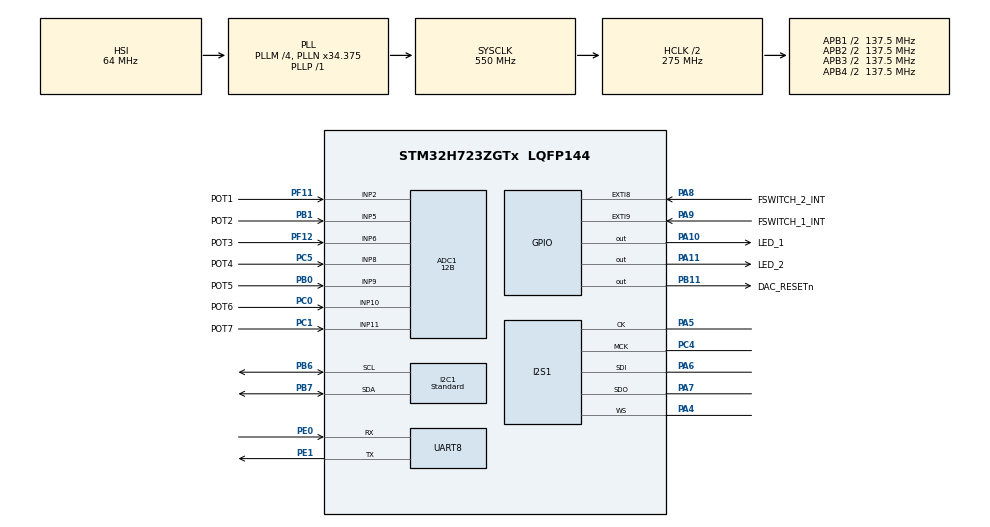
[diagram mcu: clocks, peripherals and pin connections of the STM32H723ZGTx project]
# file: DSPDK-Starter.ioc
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ADC1.Channel-10\#ChannelRegularConversion=ADC_CHANNEL_8
ADC1.Channel-11\#ChannelRegularConversion=ADC_CHANNEL_9
ADC1.Channel-12\#ChannelRegularConversion=ADC_CHANNEL_10
ADC1.Channel-13\#ChannelRegularConversion=ADC_CHANNEL_11
ADC1.Channel-7\#ChannelRegularConversion=ADC_CHANNEL_2
ADC1.Channel-8\#ChannelRegularConversion=ADC_CHANNEL_5
ADC1.Channel-9\#ChannelRegularConversion=ADC_CHANNEL_6
ADC1.ContinuousConvMode=DISABLE
ADC1.ConversionDataManagement=ADC_CONVERSIONDATA_DMA_CIRCULAR
ADC1.EOCSelection=ADC_EOC_SEQ_CONV
ADC1.ExternalTrigConv=ADC_EXTERNALTRIG_T3_TRGO
ADC1.NbrOfConversion=7
ADC1.NbrOfConversionFlag=1
ADC1.OffsetNumber-10\#ChannelRegularConversion=ADC_OFFSET_NONE
ADC1.OffsetNumber-11\#ChannelRegularConversion=ADC_OFFSET_NONE
ADC1.OffsetNumber-12\#ChannelRegularConversion=ADC_OFFSET_NONE
ADC1.OffsetNumber-13\#ChannelRegularConversion=ADC_OFFSET_NONE
ADC1.OffsetNumber-7\#ChannelRegularConversion=ADC_OFFSET_NONE
ADC1.OffsetNumber-8\#ChannelRegularConversion=ADC_OFFSET_NONE
ADC1.OffsetNumber-9\#ChannelRegularConversion=ADC_OFFSET_NONE
ADC1.OffsetSignedSaturation-7\#ChannelRegularConversion=DISABLE
ADC1.Rank-10\#ChannelRegularConversion=4
ADC1.Rank-11\#ChannelRegularConversion=5
ADC1.Rank-12\#ChannelRegularConversion=6
ADC1.Rank-13\#ChannelRegularConversion=7
ADC1.Rank-7\#ChannelRegularConversion=1
ADC1.Rank-8\#ChannelRegularConversion=2
ADC1.Rank-9\#ChannelRegularConversion=3
ADC1.Resolution=ADC_RESOLUTION_12B
ADC1.SamplingTime-10\#ChannelRegularConversion=ADC_SAMPLETIME_64CYCLES_5
ADC1.SamplingTime-11\#ChannelRegularConversion=ADC_SAMPLETIME_64CYCLES_5
ADC1.SamplingTime-12\#ChannelRegularConversion=ADC_SAMPLETIME_64CYCLES_5
ADC1.SamplingTime-13\#ChannelRegularConversion=ADC_SAMPLETIME_64CYCLES_5
ADC1.SamplingTime-7\#ChannelRegularConversion=ADC_SAMPLETIME_64CYCLES_5
ADC1.SamplingTime-8\#ChannelRegularConversion=ADC_SAMPLETIME_64CYCLES_5
ADC1.SamplingTime-9\#ChannelRegularConversion=ADC_SAMPLETIME_64CYCLES_5
ADC1.master=1
Dma.ADC1.2.Direction=DMA_PERIPH_TO_MEMORY
Dma.ADC1.2.EventEnable=DISABLE
Dma.ADC1.2.FIFOMode=DMA_FIFOMODE_DISABLE
Dma.ADC1.2.Instance=DMA1_Stream2
Dma.ADC1.2.MemDataAlignment=DMA_MDATAALIGN_HALFWORD
Dma.ADC1.2.MemInc=DMA_MINC_ENABLE
Dma.ADC1.2.Mode=DMA_CIRCULAR
Dma.ADC1.2.PeriphDataAlignment=DMA_PDATAALIGN_HALFWORD
Dma.ADC1.2.PeriphInc=DMA_PINC_DISABLE
Dma.ADC1.2.Polarity=HAL_DMAMUX_REQ_GEN_RISING
Dma.ADC1.2.Priority=DMA_PRIORITY_LOW
Dma.ADC1.2.RequestNumber=1
Dma.ADC1.2.SignalID=NONE
Dma.ADC1.2.SyncEnable=DISABLE
Dma.ADC1.2.SyncPolarity=HAL_DMAMUX_SYNC_NO_EVENT
Dma.ADC1.2.SyncRequestNumber=1
Dma.ADC1.2.SyncSignalID=NONE
Dma.Request0=SPI1_RX
Dma.Request1=SPI1_TX
Dma.Request2=ADC1
Dma.SPI1_RX.0.Direction=DMA_PERIPH_TO_MEMORY
Dma.SPI1_RX.0.EventEnable=DISABLE
Dma.SPI1_RX.0.FIFOMode=DMA_FIFOMODE_DISABLE
Dma.SPI1_RX.0.Instance=DMA1_Stream0
Dma.SPI1_RX.0.MemDataAlignment=DMA_MDATAALIGN_WORD
Dma.SPI1_RX.0.MemInc=DMA_MINC_ENABLE
Dma.SPI1_RX.0.Mode=DMA_CIRCULAR
Dma.SPI1_RX.0.PeriphDataAlignment=DMA_PDATAALIGN_WORD
Dma.SPI1_RX.0.PeriphInc=DMA_PINC_DISABLE
Dma.SPI1_RX.0.Polarity=HAL_DMAMUX_REQ_GEN_RISING
Dma.SPI1_RX.0.Priority=DMA_PRIORITY_VERY_HIGH
Dma.SPI1_RX.0.RequestNumber=1
Dma.SPI1_RX.0.SignalID=NONE
Dma.SPI1_RX.0.SyncEnable=DISABLE
Dma.SPI1_RX.0.SyncPolarity=HAL_DMAMUX_SYNC_NO_EVENT
Dma.SPI1_RX.0.SyncRequestNumber=1
Dma.SPI1_RX.0.SyncSignalID=NONE
Dma.SPI1_TX.1.Direction=DMA_MEMORY_TO_PERIPH
Dma.SPI1_TX.1.EventEnable=DISABLE
Dma.SPI1_TX.1.FIFOMode=DMA_FIFOMODE_DISABLE
Dma.SPI1_TX.1.Instance=DMA1_Stream1
Dma.SPI1_TX.1.MemDataAlignment=DMA_MDATAALIGN_WORD
Dma.SPI1_TX.1.MemInc=DMA_MINC_ENABLE
Dma.SPI1_TX.1.Mode=DMA_CIRCULAR
Dma.SPI1_TX.1.PeriphDataAlignment=DMA_PDATAALIGN_WORD
Dma.SPI1_TX.1.PeriphInc=DMA_PINC_DISABLE
Dma.SPI1_TX.1.Polarity=HAL_DMAMUX_REQ_GEN_RISING
Dma.SPI1_TX.1.Priority=DMA_PRIORITY_VERY_HIGH
Dma.SPI1_TX.1.RequestNumber=1
Dma.SPI1_TX.1.SignalID=NONE
Dma.SPI1_TX.1.SyncEnable=DISABLE
Dma.SPI1_TX.1.SyncPolarity=HAL_DMAMUX_SYNC_NO_EVENT
Dma.SPI1_TX.1.SyncRequestNumber=1
Dma.SPI1_TX.1.SyncSignalID=NONE
I2C1.Analog_Filter=I2C_ANALOGFILTER_ENABLE
I2C1.GeneralCallMode=I2C_GENERALCALL_ENABLE
I2C1.I2C_Coeff_DF=0
I2C1.I2C_Fall_Time=50
I2C1.I2C_Rise_Time=50
I2C1.I2C_Speed_Mode=I2C_Standard
I2C1.Timing=0x20D0BFFF
I2S1.AudioFreq=I2S_AUDIOFREQ_48K
I2S1.Data24BitAlignment=I2S_DATA_24BIT_ALIGNMENT_LEFT
I2S1.DataFormat=I2S_DATAFORMAT_24B
I2S1.ErrorAudioFreq=-0.53 %
I2S1.Instance=SPI$Index
I2S1.RealAudioFreq=47.743 KHz
I2S1.Standard=I2S_STANDARD_MSB
Mcu.Family=STM32H7
Mcu.Name=STM32H723ZGTx
Mcu.Package=LQFP144
NVIC.DMA1_Stream0_IRQn=true\:0\:0\:false\:false\:true\:false\:true\:true
NVIC.DMA1_Stream1_IRQn=true\:0\:0\:false\:false\:true\:false\:true\:true
NVIC.DMA1_Stream2_IRQn=true\:0\:0\:false\:false\:true\:false\:true\:true
NVIC.EXTI9_5_IRQn=true\:0\:0\:false\:false\:true\:true\:true\:true
NVIC.PriorityGroup=NVIC_PRIORITYGROUP_4
PA10.GPIO_Label=LED_1
PA10.PinState=GPIO_PIN_SET
PA10.Signal=GPIO_Output
PA11.GPIO_Label=LED_2
PA11.PinState=GPIO_PIN_SET
PA11.Signal=GPIO_Output
PA13(JTMS/SWDIO).Mode=Trace_Asynchronous_SW
PA13(JTMS/SWDIO).Signal=DEBUG_JTMS-SWDIO
PA14(JTCK/SWCLK).Mode=Trace_Asynchronous_SW
PA14(JTCK/SWCLK).Signal=DEBUG_JTCK-SWCLK
PA4.GPIO_Speed=GPIO_SPEED_FREQ_VERY_HIGH
PA4.Mode=Full_Duplex_Master
PA4.Signal=I2S1_WS
PA5.GPIO_Speed=GPIO_SPEED_FREQ_VERY_HIGH
PA5.Mode=Full_Duplex_Master
PA5.Signal=I2S1_CK
PA6.GPIO_Speed=GPIO_SPEED_FREQ_VERY_HIGH
PA6.Mode=Full_Duplex_Master
PA6.Signal=I2S1_SDI
PA7.GPIO_Speed=GPIO_SPEED_FREQ_VERY_HIGH
PA7.Mode=Full_Duplex_Master
PA7.Signal=I2S1_SDO
PA8.GPIO_Label=FSWITCH_2_INT
PA8.GPIO_ModeDefaultEXTI=GPIO_MODE_IT_FALLING
PA8.Signal=GPXTI8
PA9.GPIO_Label=FSWITCH_1_INT
PA9.GPIO_ModeDefaultEXTI=GPIO_MODE_IT_FALLING
PA9.Signal=GPXTI9
PB0.GPIO_Label=POT5
PB0.Signal=ADCx_INP9
PB1.GPIO_Label=POT2
PB1.Signal=ADCx_INP5
PB11.GPIO_Label=DAC_RESETn
PB11.GPIO_ModeDefaultOutputPP=GPIO_MODE_OUTPUT_PP
PB11.GPIO_PuPd=GPIO_PULLUP
PB11.GPIO_Speed=GPIO_SPEED_FREQ_VERY_HIGH
PB11.PinState=GPIO_PIN_SET
PB11.Signal=GPIO_Output
PB3(JTDO/TRACESWO).Mode=Trace_Asynchronous_SW
PB3(JTDO/TRACESWO).Signal=DEBUG_JTDO-SWO
PB6.GPIO_Pu=GPIO_PULLUP
PB6.GPIO_Speed=GPIO_SPEED_FREQ_VERY_HIGH
PB6.Mode=I2C
PB6.Signal=I2C1_SCL
PB7.GPIO_Pu=GPIO_PULLUP
PB7.GPIO_Speed=GPIO_SPEED_FREQ_VERY_HIGH
PB7.Mode=I2C
PB7.Signal=I2C1_SDA
PC0.GPIO_Label=POT6
PC0.Signal=ADCx_INP10
PC1.GPIO_Label=POT7
PC1.Signal=ADCx_INP11
PC4.GPIO_Speed=GPIO_SPEED_FREQ_VERY_HIGH
PC4.Mode=Master_Clock_Activated
PC4.Signal=I2S1_MCK
PC5.GPIO_Label=POT4
PC5.Signal=ADCx_INP8
PE0.Mode=Asynchronous
PE0.Signal=UART8_RX
PE1.Mode=Asynchronous
PE1.Signal=UART8_TX
PF11.GPIO_Label=POT1
PF11.Mode=IN2-Single-Ended
PF11.Signal=ADC1_INP2
PF12.GPIO_Label=POT3
PF12.Mode=IN6-Single-Ended
PF12.Signal=ADC1_INP6
ProjectManager.HeapSize=0x200
ProjectManager.StackSize=0x400
ProjectManager.TargetToolchain=STM32CubeIDE
RCC.ADCFreq_Value=96000000
RCC.APB1Freq_Value=137500000
RCC.APB2Freq_Value=137500000
RCC.APB3Freq_Value=137500000
RCC.APB4Freq_Value=137500000
RCC.CortexFreq_Value=550000000
RCC.D1PPRE=RCC_APB3_DIV2
RCC.D2PPRE1=RCC_APB1_DIV2
RCC.D2PPRE2=RCC_APB2_DIV2
RCC.D3PPRE=RCC_APB4_DIV2
RCC.DIVM1=4
RCC.DIVM2=4
RCC.DIVN1=34
RCC.DIVN2=12
RCC.DIVP1=1
RCC.DIVQ1=9
RCC.HCLKFreq_Value=275000000
RCC.HPRE=RCC_HCLK_DIV2
RCC.PLL2FRACN=0
RCC.PLL3FRACN=0
RCC.PLLFRACN=3072
RCC.SYSCLKFreq_VALUE=550000000
RCC.SYSCLKSource=RCC_SYSCLKSOURCE_PLLCLK
RCC.USBFreq_Value=61111111.11111111
SH.ADCx_INP10.0=ADC1_INP10,IN10-Single-Ended
SH.ADCx_INP11.0=ADC1_INP11,IN11-Single-Ended
SH.ADCx_INP5.0=ADC1_INP5,IN5-Single-Ended
SH.ADCx_INP8.0=ADC1_INP8,IN8-Single-Ended
SH.ADCx_INP9.0=ADC1_INP9,IN9-Single-Ended
TIM3.Channel-PWM\ Generation1\ No\ Output=TIM_CHANNEL_1
TIM3.Period=500-1
TIM3.Prescaler=33600-1
TIM3.TIM_MasterOutputTrigger=TIM_TRGO_UPDATE
VP_TIM3_VS_ClockSourceINT.Mode=Internal
VP_TIM3_VS_no_output1.Mode=PWM Generation1 No Output
board=custom

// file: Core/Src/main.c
/* USER CODE BEGIN Header */
/**
  ******************************************************************************
  * @file           : main.c
  * @brief          : Main program body
  ******************************************************************************
  * @attention
  *
  * Copyright (c) 2023 STMicroelectronics.
  * All rights reserved.
  *
  * This software is licensed under terms that can be found in the LICENSE file
  * in the root directory of this software component.
  * If no LICENSE file comes with this software, it is provided AS-IS.
  *
  ******************************************************************************
  */
/* USER CODE END Header */
#include "main.h"
#include "adc.h"
#include "dma.h"
#include "i2c.h"
#include "i2s.h"
#include "tim.h"
#include "usart.h"
#include "gpio.h"

/* USER CODE BEGIN Includes */
#include "tlv320.h"
#include "audio_processing.h"
/* USER CODE END Includes */

/* USER CODE BEGIN PV */
volatile int32_t adcData[BUFFER_SIZE*2];
volatile int32_t dacData[BUFFER_SIZE*2];
volatile float processedData[BUFFER_SIZE/2];
volatile int32_t *inBufPtr;
volatile int32_t *outBufPtr = &dacData[0];

volatile uint8_t dataReadyFlag;

volatile uint16_t adcControlData[7];
volatile float gains[7];
volatile bool EQ_Enable = FALSE;
/* USER CODE END PV */

void SystemClock_Config(void);

/* USER CODE BEGIN 0 */

//I2S transmit/receive half complete (DMA finished first half of buffer)
void HAL_I2SEx_TxRxHalfCpltCallback(I2S_HandleTypeDef *hi2s){
	inBufPtr = &adcData[0];
	outBufPtr = &dacData[0];

	dataReadyFlag = 1;
}

//I2S transmit/receive complete (DMA reached end of buffer)
void HAL_I2SEx_TxRxCpltCallback(I2S_HandleTypeDef *hi2s){
	inBufPtr = &adcData[BUFFER_SIZE];
	outBufPtr = &dacData[BUFFER_SIZE];

	dataReadyFlag = 1;
}

//Read position of knobs, and map to [0.25, 4.0] range
void HAL_ADC_ConvCpltCallback(ADC_HandleTypeDef *hadc){
	for(int i = 0; i < 7; i++){
		gains[i] = adcControlData[i] / 1024.0 + 0.25f;
	}
}

//This function is called when a GPIO External Interrupt is detected
void HAL_GPIO_EXTI_Callback(uint16_t GPIO_Pin){
	//Footswitch one pressed
	if(GPIO_Pin == GPIO_PIN_9){
		HAL_GPIO_TogglePin(LED_1_GPIO_Port, LED_1_Pin);
		if(EQ_Enable == FALSE){
			EQ_Enable = TRUE;
		} else {
			EQ_Enable = FALSE;
		}

	}

	//Footswitch two pressed
	if(GPIO_Pin == GPIO_PIN_8){
		HAL_GPIO_TogglePin(LED_2_GPIO_Port, LED_2_Pin);
	}
}
/* USER CODE END 0 */

int main(void)
{

  /* MCU Configuration--------------------------------------------------------*/

  /* Reset of all peripherals, Initializes the Flash interface and the Systick. */
  HAL_Init();

  /* Configure the system clock */
  SystemClock_Config();

  /* Initialize all configured peripherals */
  MX_GPIO_Init();
  MX_DMA_Init();
  MX_I2S1_Init();
  MX_ADC1_Init();
  MX_I2C1_Init();
  MX_TIM3_Init();
  MX_UART8_Init();
  /* USER CODE BEGIN 2 */
  HAL_Delay(100);

  int ret = SETUP_TLV320(&hi2c1);
  if(ret != 0){
	  HAL_GPIO_TogglePin(LED_1_GPIO_Port, LED_1_Pin);
	  return 1;
  }else{
	  HAL_GPIO_TogglePin(LED_1_GPIO_Port, LED_1_Pin);
	  //HAL_GPIO_TogglePin(LED_2_GPIO_Port, LED_2_Pin);
  }

  HAL_I2SEx_TransmitReceive_DMA(&hi2s1, (uint16_t *) dacData, (uint16_t *) adcData, BUFFER_SIZE);
  //HAL_ADC_Start_DMA(&hadc1, (uint32_t *) adcControlData, 7);
  //HAL_TIM_Base_Start(&htim3);

  /* USER CODE END 2 */

  /* Infinite loop */
  /* USER CODE BEGIN WHILE */
  while (1)
  {
	  while(dataReadyFlag != 1);
	  process_audio(inBufPtr, outBufPtr);
	  dataReadyFlag = 0;
    /* USER CODE END WHILE */

  }
}

void SystemClock_Config(void)
{
  RCC_OscInitTypeDef RCC_OscInitStruct = {0};
  RCC_ClkInitTypeDef RCC_ClkInitStruct = {0};

  /** Supply configuration update enable
  */
  HAL_PWREx_ConfigSupply(PWR_LDO_SUPPLY);

  /** Configure the main internal regulator output voltage
  */
  __HAL_PWR_VOLTAGESCALING_CONFIG(PWR_REGULATOR_VOLTAGE_SCALE0);

  while(!__HAL_PWR_GET_FLAG(PWR_FLAG_VOSRDY)) {}

  /** Initializes the RCC Oscillators according to the specified parameters
  * in the RCC_OscInitTypeDef structure.
  */
  RCC_OscInitStruct.OscillatorType = RCC_OSCILLATORTYPE_HSI;
  RCC_OscInitStruct.HSIState = RCC_HSI_DIV1;
  RCC_OscInitStruct.HSICalibrationValue = 64;
  RCC_OscInitStruct.PLL.PLLState = RCC_PLL_ON;
  RCC_OscInitStruct.PLL.PLLSource = RCC_PLLSOURCE_HSI;
  RCC_OscInitStruct.PLL.PLLM = 4;
  RCC_OscInitStruct.PLL.PLLN = 34;
  RCC_OscInitStruct.PLL.PLLP = 1;
  RCC_OscInitStruct.PLL.PLLQ = 9;
  RCC_OscInitStruct.PLL.PLLR = 2;
  RCC_OscInitStruct.PLL.PLLRGE = RCC_PLL1VCIRANGE_3;
  RCC_OscInitStruct.PLL.PLLVCOSEL = RCC_PLL1VCOWIDE;
  RCC_OscInitStruct.PLL.PLLFRACN = 3072;
  if (HAL_RCC_OscConfig(&RCC_OscInitStruct) != HAL_OK)
  {
    Error_Handler();
  }

  /** Initializes the CPU, AHB and APB buses clocks
  */
  RCC_ClkInitStruct.ClockType = RCC_CLOCKTYPE_HCLK|RCC_CLOCKTYPE_SYSCLK
                              |RCC_CLOCKTYPE_PCLK1|RCC_CLOCKTYPE_PCLK2
                              |RCC_CLOCKTYPE_D3PCLK1|RCC_CLOCKTYPE_D1PCLK1;
  RCC_ClkInitStruct.SYSCLKSource = RCC_SYSCLKSOURCE_PLLCLK;
  RCC_ClkInitStruct.SYSCLKDivider = RCC_SYSCLK_DIV1;
  RCC_ClkInitStruct.AHBCLKDivider = RCC_HCLK_DIV2;
  RCC_ClkInitStruct.APB3CLKDivider = RCC_APB3_DIV2;
  RCC_ClkInitStruct.APB1CLKDivider = RCC_APB1_DIV2;
  RCC_ClkInitStruct.APB2CLKDivider = RCC_APB2_DIV2;
  RCC_ClkInitStruct.APB4CLKDivider = RCC_APB4_DIV2;

  if (HAL_RCC_ClockConfig(&RCC_ClkInitStruct, FLASH_LATENCY_3) != HAL_OK)
  {
    Error_Handler();
  }
}

void Error_Handler(void)
{
  __disable_irq();
  while (1)
  {
  }
}
